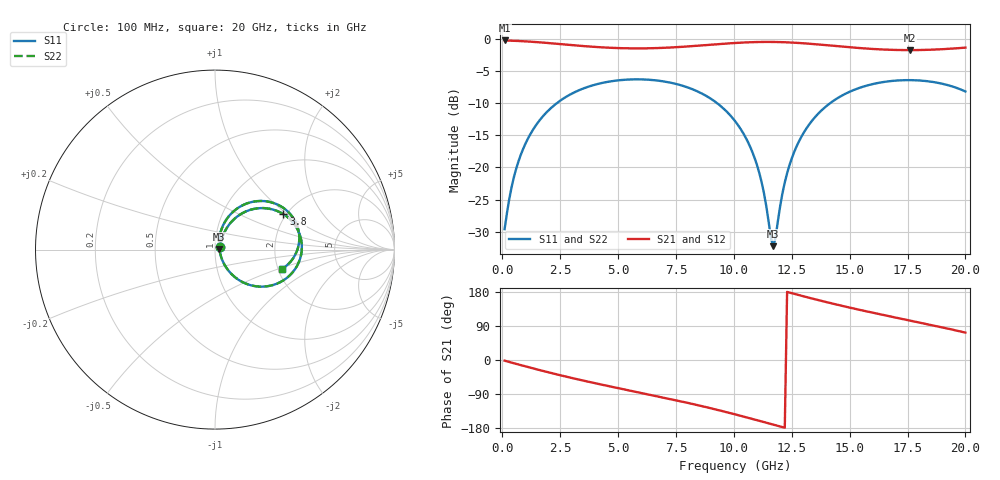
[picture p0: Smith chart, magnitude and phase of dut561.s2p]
! Touchstone file exported from HFSS 2026.1.0
!  File:  C:/ffzhzh/LocalFiles/Ansys_Project_Files/temp_train_TSV_RDL_561_1783116225_37876.aedt
!  Generated:  06:19:06 AM Jul  4, 2026
!  Design:  TSV_RDL
!  Project:  temp_train_TSV_RDL_561_1783116225_37876
! Variables:
!  h_bsmrdl = 5.18um
!  h_ox = 20um
!  h_rdl = 5um
!  h_sub = 85.76um
!  h_tmrdl = 2.98um
!  h_tsv = 85.76um
!  h_via = 3um
!  l_bsmrdl = 553.16um
!  l_sub = 4711.81um
!  l_tmrdl = 629.82um
!  m_sub = 200um
!  pitch = 42um
!  r_tsv = 3.49um
!  s_tmrdl = 10um
!  w_bsmrdl = 28.74um
!  w_sub = 500um
!  w_tmrdl = 15.61um
!  x_tsv_center1 = 637.625um
!  x_tsv_center2 = 1219.525um
!  x_tsv_center3 = 1864.955um
!  x_tsv_center4 = 2446.855um
!  x_tsv_center5 = 3092.285um
!  x_tsv_center6 = 3674.185um
# GHz S MA R 50.000000
! Terminal data exported
! Port[1] = TM_RDL1_1_T1
! Port[2] = TM_RDL5_1_T1
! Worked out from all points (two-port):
!   200 points, 100 MHz to 20 GHz, reference 50 ohm
!   highest |S21| = -0.25 dB at 100 MHz (marker M1); lowest = -1.8 dB at 17.6 GHz (marker M2)
!   |S21| within 3 dB of the highest: start of sweep to end of sweep
!   lowest |S11| = -32.2 dB at 11.7 GHz (marker M3), VSWR 1.05, Z = 52.5 + j0.315 ohm
!   |S11| at or under -10 dB: start of sweep to 2.358 GHz; 9.274 GHz to 14.16 GHz (4.886 GHz wide, 41.7 % of centre)
!   |S22| runs from -32.2 to -6.3 dB; largest |S21 - S12| = 1.8e-14
!   S11 on the Smith chart (normalised r, x): 100 MHz: 1.06, +0.03; 3.8 GHz: 1.93, +0.94; 20 GHz: 2.11, -0.53
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0.1  0.03315 28.3  0.9712 -1.8  0.9712 -1.8  0.03315 28.3
! Gamma 0 0 0 0
! Port Impedance 50 0 50 0
0.5  0.08386 59.4  0.9655 -8.5  0.9655 -8.5  0.08386 59.4
1.2  0.1799 59.4  0.9509 -20.0  0.9509 -20.0  0.1799 59.4
2.2  0.3 47.9  0.9205 -35.7  0.9205 -35.7  0.3 47.9
3.5  0.411 31.2  0.8785 -54.4  0.8785 -54.4  0.4111 31.3
3.8  0.4292 27.5  0.8702 -58.5  0.8702 -58.5  0.4292 27.5
5.3  0.4807 9.1  0.8445 -78.0  0.8445 -78.0  0.4807 9.1
6.8  0.4714 -9.0  0.8488 -97.1  0.8488 -97.1  0.4714 -9.0
8.7  0.369 -33.0  0.8912 -122.9  0.8912 -122.9  0.369 -33.0
10.1  0.2234 -51.1  0.9294 -144.2  0.9294 -144.2  0.2235 -51.1
11  0.1043 -58.0  0.9441 -158.8  0.9441 -158.8  0.1044 -57.9
11.3  0.06324 -53.6  0.9459 -163.8  0.9459 -163.8  0.06334 -53.5
11.7  0.02443 7.1  0.9455 -170.4  0.9455 -170.4  0.0246 7.0
11.8  0.02843 36.3  0.9449 -172.1  0.9449 -172.1  0.02856 36.1
12.1  0.06302 67.9  0.942 -177.1  0.942 -177.1  0.06306 67.8
12.4  0.1038 72.3  0.9373 178.0  0.9373 178.0  0.1038 72.2
12.8  0.1578 70.7  0.9288 171.4  0.9288 171.4  0.1578 70.7
13.4  0.2336 64.4  0.9121 161.9  0.9121 161.9  0.2336 64.4
14.8  0.3726 46.7  0.8662 141.1  0.8662 141.1  0.3726 46.7
16.7  0.4678 23.4  0.8223 115.7  0.8223 115.7  0.4677 23.4
17.6  0.4774 12.8  0.8169 104.2  0.8169 104.2  0.4774 12.7
20  0.3896 -16.0  0.854 72.3  0.854 72.3  0.3895 -16.1
